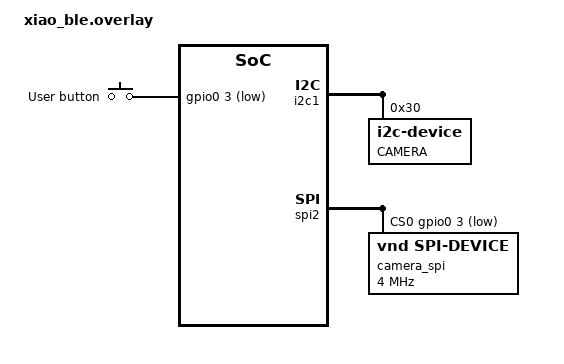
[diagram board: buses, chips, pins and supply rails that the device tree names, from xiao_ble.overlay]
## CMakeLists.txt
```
# SPDX-License-Identifier: Apache-2.0

cmake_minimum_required(VERSION 3.20.0)
find_package(Zephyr REQUIRED HINTS $ENV{ZEPHYR_BASE})
project(nrf52840_nordic)
enable_language(C ASM)

target_sources(app PRIVATE
    src/main.c
    src/transport.c
    src/mic.c
    src/led.c
    src/audio.c
    src/codec.c
    src/camera.c
    src/controls.c
    src/battery.c
    src/settings.c
)

target_sources_ifdef(CONFIG_BUBBLE_CODEC_OPUS app PRIVATE
    src/opus-1.2.1/A2NLSF.c
    src/opus-1.2.1/CNG.c
    src/opus-1.2.1/HP_variable_cutoff.c
    src/opus-1.2.1/LPC_analysis_filter.c
    src/opus-1.2.1/LPC_fit.c
    src/opus-1.2.1/LPC_inv_pred_gain.c
    src/opus-1.2.1/LP_variable_cutoff.c
    src/opus-1.2.1/LTP_analysis_filter_FIX.c
    src/opus-1.2.1/LTP_scale_ctrl_FIX.c
    src/opus-1.2.1/NLSF2A.c
    src/opus-1.2.1/NLSF_VQ.c
    src/opus-1.2.1/NLSF_VQ_weights_laroia.c
    src/opus-1.2.1/NLSF_decode.c
    src/opus-1.2.1/NLSF_del_dec_quant.c
    src/opus-1.2.1/NLSF_encode.c
    src/opus-1.2.1/NLSF_stabilize.c
    src/opus-1.2.1/NLSF_unpack.c
    src/opus-1.2.1/NSQ.c
    src/opus-1.2.1/NSQ_del_dec.c
    src/opus-1.2.1/PLC.c
    src/opus-1.2.1/VAD.c
    src/opus-1.2.1/VQ_WMat_EC.c
    src/opus-1.2.1/ana_filt_bank_1.c
    src/opus-1.2.1/analysis.c
    src/opus-1.2.1/apply_sine_window_FIX.c
    src/opus-1.2.1/autocorr_FIX.c
    src/opus-1.2.1/bands.c
    src/opus-1.2.1/biquad_alt.c
    src/opus-1.2.1/burg_modified_FIX.c
    src/opus-1.2.1/bwexpander.c
    src/opus-1.2.1/bwexpander_32.c
    src/opus-1.2.1/celt.c
    src/opus-1.2.1/celt_decoder.c
    src/opus-1.2.1/celt_encoder.c
    src/opus-1.2.1/celt_lpc.c
    src/opus-1.2.1/arm/celt_pitch_xcorr_arm_gcc.s
    src/opus-1.2.1/check_control_input.c
    src/opus-1.2.1/code_signs.c
    src/opus-1.2.1/control_SNR.c
    src/opus-1.2.1/control_audio_bandwidth.c
    src/opus-1.2.1/control_codec.c
    src/opus-1.2.1/corrMatrix_FIX.c
    src/opus-1.2.1/cwrs.c
    src/opus-1.2.1/debug.c
    src/opus-1.2.1/dec_API.c
    src/opus-1.2.1/decode_core.c
    src/opus-1.2.1/decode_frame.c
    src/opus-1.2.1/decode_indices.c
    src/opus-1.2.1/decode_parameters.c
    src/opus-1.2.1/decode_pitch.c
    src/opus-1.2.1/decode_pulses.c
    src/opus-1.2.1/decoder_set_fs.c
    src/opus-1.2.1/enc_API.c
    src/opus-1.2.1/encode_frame_FIX.c
    src/opus-1.2.1/encode_indices.c
    src/opus-1.2.1/encode_pulses.c
    src/opus-1.2.1/entcode.c
    src/opus-1.2.1/entdec.c
    src/opus-1.2.1/entenc.c
    src/opus-1.2.1/find_LPC_FIX.c
    src/opus-1.2.1/find_LTP_FIX.c
    src/opus-1.2.1/find_pitch_lags_FIX.c
    src/opus-1.2.1/find_pred_coefs_FIX.c
    src/opus-1.2.1/gain_quant.c
    src/opus-1.2.1/init_decoder.c
    src/opus-1.2.1/init_encoder.c
    src/opus-1.2.1/inner_prod_aligned.c
    src/opus-1.2.1/interpolate.c
    src/opus-1.2.1/k2a_FIX.c
    src/opus-1.2.1/k2a_Q16_FIX.c
    src/opus-1.2.1/kiss_fft.c
    src/opus-1.2.1/laplace.c
    src/opus-1.2.1/lin2log.c
    src/opus-1.2.1/log2lin.c
    src/opus-1.2.1/mathops.c
    src/opus-1.2.1/mdct.c
    src/opus-1.2.1/mlp.c
    src/opus-1.2.1/mlp_data.c
    src/opus-1.2.1/modes.c
    src/opus-1.2.1/noise_shape_analysis_FIX.c
    src/opus-1.2.1/opus.c
    src/opus-1.2.1/opus_decoder.c
    src/opus-1.2.1/opus_encoder.c
    src/opus-1.2.1/opus_multistream.c
    src/opus-1.2.1/opus_multistream_decoder.c
    src/opus-1.2.1/opus_multistream_encoder.c
    src/opus-1.2.1/pitch.c
    src/opus-1.2.1/pitch_analysis_core_FIX.c
    src/opus-1.2.1/pitch_est_tables.c
    src/opus-1.2.1/process_NLSFs.c
    src/opus-1.2.1/process_gains_FIX.c
    src/opus-1.2.1/quant_LTP_gains.c
    src/opus-1.2.1/quant_bands.c
    src/opus-1.2.1/rate.c
    src/opus-1.2.1/regularize_correlations_FIX.c
    src/opus-1.2.1/repacketizer.c
    src/opus-1.2.1/resampler.c
    src/opus-1.2.1/resampler_down2.c
    src/opus-1.2.1/resampler_down2_3.c
    src/opus-1.2.1/resampler_private_AR2.c
    src/opus-1.2.1/resampler_private_IIR_FIR.c
    src/opus-1.2.1/resampler_private_down_FIR.c
    src/opus-1.2.1/resampler_private_up2_HQ.c
    src/opus-1.2.1/resampler_rom.c
    src/opus-1.2.1/residual_energy16_FIX.c
    src/opus-1.2.1/residual_energy_FIX.c
    src/opus-1.2.1/schur64_FIX.c
    src/opus-1.2.1/schur_FIX.c
    src/opus-1.2.1/shell_coder.c
    src/opus-1.2.1/sigm_Q15.c
    src/opus-1.2.1/sort.c
    src/opus-1.2.1/stereo_LR_to_MS.c
    src/opus-1.2.1/stereo_MS_to_LR.c
    src/opus-1.2.1/stereo_decode_pred.c
    src/opus-1.2.1/stereo_encode_pred.c
    src/opus-1.2.1/stereo_find_predictor.c
    src/opus-1.2.1/stereo_quant_pred.c
    src/opus-1.2.1/sum_sqr_shift.c
    src/opus-1.2.1/table_LSF_cos.c
    src/opus-1.2.1/tables_LTP.c
    src/opus-1.2.1/tables_NLSF_CB_NB_MB.c
    src/opus-1.2.1/tables_NLSF_CB_WB.c
    src/opus-1.2.1/tables_gain.c
    src/opus-1.2.1/tables_other.c
    src/opus-1.2.1/tables_pitch_lag.c
    src/opus-1.2.1/tables_pulses_per_block.c
    src/opus-1.2.1/vector_ops_FIX.c
    src/opus-1.2.1/vq.c
    src/opus-1.2.1/warped_autocorrelation_FIX.c
    src/opus-1.2.1/arm/celt_pitch_xcorr_arm_gcc.s
)

set(CMAKE_C_FLAGS "${CMAKE_C_FLAGS} -DARM_MATH_CM4")
# set(CMAKE_C_FLAGS "${CMAKE_C_FLAGS} -DVAR_ARRAYS")
set(CMAKE_C_FLAGS "${CMAKE_C_FLAGS} -DOPUS_ARM_ASM")
set(CMAKE_C_FLAGS "${CMAKE_C_FLAGS} -DOPUS_ARM_INLINE_ASM")
set(CMAKE_C_FLAGS "${CMAKE_C_FLAGS} -DOPUS_ARM_INLINE_EDSP")
set(CMAKE_C_FLAGS "${CMAKE_C_FLAGS} -DOPUS_ARM_INLINE_MEDIA")
set(CMAKE_C_FLAGS "${CMAKE_C_FLAGS} -DOPUS_ARM_MAY_HAVE_EDSP")
set(CMAKE_C_FLAGS "${CMAKE_C_FLAGS} -DOPUS_ARM_PRESUME_EDSP")
set(CMAKE_C_FLAGS "${CMAKE_C_FLAGS} -DOPUS_BUILD")
set(CMAKE_C_FLAGS "${CMAKE_C_FLAGS} -DUSE_ALLOCA")
set(CMAKE_C_FLAGS "${CMAKE_C_FLAGS} -DFIXED_POINT -DDISABLE_FLOAT_API")
set(CMAKE_C_FLAGS "${CMAKE_C_FLAGS} -DHAVE_CONFIG_H")
set(CMAKE_C_FLAGS "${CMAKE_C_FLAGS} -DHAVE_ALLOCA_H")
set(CMAKE_C_FLAGS "${CMAKE_C_FLAGS} -fsingle-precision-constant") # A lot of constants are written as doubles
set(CMAKE_C_FLAGS "${CMAKE_C_FLAGS} -DHAVE_LRINT -DHAVE_LRINTF")
```

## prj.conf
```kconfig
#
# Firmware settings
#

CONFIG_BUBBLE_SOFT_BUTTON=y

#
# Hardware settings
#

# Microphone
CONFIG_NRFX_PDM=y
CONFIG_ADC=y

# Watchdog
CONFIG_WATCHDOG=y
CONFIG_WDT_NRFX=y

# Storage
CONFIG_NVS=y
CONFIG_FLASH=y
CONFIG_FLASH_MAP=y
CONFIG_SETTINGS=y
CONFIG_SETTINGS_NVS=y
CONFIG_SETTINGS_RUNTIME=y

#
# Bluetooth settings
#

CONFIG_BT=y
CONFIG_BT_PERIPHERAL=y
CONFIG_BT_DEVICE_NAME="Bubble"
# This is important since our code assumes a single connection
CONFIG_BT_MAX_CONN=1
CONFIG_BT_MAX_PAIRED=1
CONFIG_BT_DEVICE_APPEARANCE=22
CONFIG_BT_GATT_DYNAMIC_DB=y

# Pairing
# CONFIG_BT_SMP=y

# Coded PHY (long range) doesnt work with Apple
# CONFIG_BT_CTLR_PHY_CODED=y
# CONFIG_BT_CTLR_CONN_PARAM_REQ=y

# Alternative BLE implementation
# CONFIG_BT_LL_SW_SPLIT=y

# MOAR POWER
CONFIG_BT_CTLR_TX_PWR_ANTENNA=8
CONFIG_BT_PHY_UPDATE=y

# Large packets
CONFIG_BT_L2CAP_TX_MTU=498
CONFIG_BT_L2CAP_TX_BUF_COUNT=10
CONFIG_BT_CONN_TX_MAX=30
CONFIG_BT_BUF_ACL_RX_SIZE=2048
CONFIG_BT_BUF_ACL_TX_SIZE=2048
CONFIG_BT_CTLR_DATA_LENGTH_MAX=251
CONFIG_BT_USER_DATA_LEN_UPDATE=y
CONFIG_BT_AUTO_DATA_LEN_UPDATE=y
CONFIG_BT_USER_PHY_UPDATE=y
CONFIG_BT_AUTO_PHY_UPDATE=y
CONFIG_BT_RX_STACK_SIZE=4096

# Battery and DeviceInformation services
CONFIG_BT_BAS=y
CONFIG_BT_DIS=y
CONFIG_BT_DIS_PNP=n
CONFIG_BT_DIS_MODEL="Bubble"
CONFIG_BT_DIS_MANUF="Based Hardware"
CONFIG_BT_DIS_FW_REV=y
CONFIG_BT_DIS_HW_REV=y
CONFIG_BT_DIS_FW_REV_STR="1.5.3"
CONFIG_BT_DIS_HW_REV_STR="Seeed Xiao BLE Sense"

# Codecs (not implemented)
# CONFIG_LIBLC3=y

# Camera
# CONFIG_I2C=y
# CONFIG_SPI=y

# Debug
# CONFIG_DEBUG=y
CONFIG_ASSERT=y # DO NOT DISABLE - will cause hard fault
# CONFIG_LOG=y
# CONFIG_LOG_PRINTK=y
# CONFIG_LOG_BUFFER_SIZE=4096
# CONFIG_LOG_PROCESS_THREAD_STACK_SIZE=4096
# CONFIG_LOG_MODE_IMMEDIATE=y

# Log Levels
# CONFIG_BT_DEBUG_LOG=y
# CONFIG_BT_L2CAP_LOG_LEVEL_DBG=y
# CONFIG_BT_LOG_LEVEL_DBG=y

# CONFIG_LOG_PROCESS_THREAD_STACK_SIZE=4096
# CONFIG_BT_CTLR_RX_PRIO_STACK_SIZE=4096
# CONFIG_BT_DEBUG_LOG=y
# CONFIG_LOG_BUFFER_SIZE=32000
# CONFIG_LOG_OVERRIDE_LEVEL=4
# CONFIG_LOG_PROCESS_THREAD_STACK_SIZE=4096
# CONFIG_BT_RX_STACK_SIZE=4096
# CONFIG_BT_CTLR_RX_PRIO_STACK_SIZE=4096

# RTT
# CONFIG_UART_CONSOLE=n
# CONFIG_SEGGER_RTT_BUFFER_SIZE_UP=2048
# CONFIG_RTT_CONSOLE=y
# CONFIG_LOG_BACKEND_RTT=y
```

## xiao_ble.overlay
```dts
// To get started, press Ctrl+Space (or Option+Esc) to bring up the completion menu and view the available nodes.

// You can also use the buttons in the sidebar to perform actions on nodes.
// Actions currently available include:

// * Enabling / disabling the node
// * Adding the bus to a bus
// * Removing the node
// * Connecting ADC channels

// For more help, browse the DeviceTree documentation at https: //docs.zephyrproject.org/latest/guides/dts/index.html
// You can also visit the nRF DeviceTree extension documentation at https: //nrfconnect.github.io/vscode-nrf-connect/devicetree/nrfdevicetree.html
/ {
    aliases {
        sw0 = &button0;
    };
    buttons {
        compatible = "gpio-keys";
        button0: button_0 {
            gpios = <&gpio0 3 (GPIO_PULL_UP | GPIO_ACTIVE_LOW)>;
            label = "User button";
        };
    };
};

&i2c1 {
    camera: camera@30 {
        compatible = "i2c-device";
        reg = <0x30>;
        label = "CAMERA";
    };
};

&spi2 {
    cs-gpios = <&gpio0 3 GPIO_ACTIVE_LOW>, <&gpio0 28 GPIO_ACTIVE_LOW>;

    camera_spi: camera_spi_device@0 {
        status = "okay";
        compatible = "vnd,spi-device"; // https: //devzone.nordicsemi.com/f/nordic-q-a/108613/yet-another-zephyr-devicetree-problem-this-time-with-spi-spi-max-frequency-amongst-others
        reg = <0>;
        spi-max-frequency = <4000000>;
    };
};
```

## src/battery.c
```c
#include <zephyr/kernel.h>
#include <zephyr/drivers/gpio.h>
#include <zephyr/drivers/adc.h>
#include <zephyr/bluetooth/services/bas.h>
#include "battery.h"
#include "utils.h"
#include "transport.h"

#define GPIO_BATTERY_CHARGING_STATUS 17
#define GPIO_BATTERY_CHARGE_SPEED 13
#define GPIO_BATTERY_READ_ENABLE 14

// ADC
static const struct device *adc_battery_dev = DEVICE_DT_GET(DT_NODELABEL(adc));
#define ADC_TOTAL_SAMPLES 10 // Change this to a higher number for better averages
int16_t sample_buffer[ADC_TOTAL_SAMPLES];
#define ADC_RESOLUTION 12
#define ADC_CHANNEL 7
#define ADC_PORT SAADC_CH_PSELP_PSELP_AnalogInput7 // AIN7
#define ADC_REFERENCE ADC_REF_INTERNAL             // 0.6V
#define ADC_GAIN ADC_GAIN_1_6                      // ADC REFERENCE * 6 = 3.6V
struct adc_channel_cfg channel_7_cfg = {
    .gain = ADC_GAIN,
    .reference = ADC_REFERENCE,
    .acquisition_time = ADC_ACQ_TIME_DEFAULT,
    .channel_id = ADC_CHANNEL,
    .input_positive = ADC_PORT};
static struct adc_sequence_options options = {
    .extra_samplings = ADC_TOTAL_SAMPLES - 1,
    .interval_us = 500, // Interval between each sample
};
struct adc_sequence sequence = {
    .options = &options,
    .channels = BIT(ADC_CHANNEL),
    .buffer = sample_buffer,
    .buffer_size = sizeof(sample_buffer),
    .resolution = ADC_RESOLUTION,
};

// Battery spec
typedef struct
{
    uint16_t voltage;
    uint8_t percentage;
} BatteryState;
#define BATTERY_STATES_COUNT 12
BatteryState battery_states[BATTERY_STATES_COUNT] = {
    {4185, 100},
    {4165, 99},
    {4090, 91},
    {4030, 78},
    {3890, 63},
    {3830, 53},
    {3680, 36},
    {3660, 35},
    {3480, 14},
    {3420, 11},
    {3150, 1}, // 3240
    {0000, 0}  // Below safe level
};

// Implementation

bool read_battery_charging()
{
    return gpio_pin_get(gpio0_port, GPIO_BATTERY_CHARGING_STATUS) == 1;
}

int read_battery_voltage()
{

    // Voltage divider circuit (Should tune R1 in software if possible)
    const uint16_t R1 = 1037; // Originally 1M ohm, calibrated after measuring actual voltage values. Can happen due to resistor tolerances, temperature ect..
    const uint16_t R2 = 510;  // 510K ohm

    // We need to stop charging to get a reading
    bool was_charging = read_battery_charging();
    if (was_charging)
    {
        ASSERT_OK(gpio_pin_configure(gpio0_port, GPIO_BATTERY_CHARGE_SPEED, GPIO_OUTPUT | GPIO_ACTIVE_HIGH));
        ASSERT_OK(gpio_pin_set(gpio0_port, GPIO_BATTERY_CHARGE_SPEED, 1));
    }

    // Read ADC
    ASSERT_OK(adc_read(adc_battery_dev, &sequence));

    // Average samples
    int adc_mv = 0;
    for (uint8_t sample = 0; sample < ADC_TOTAL_SAMPLES; sample++)
    {
        adc_mv += sample_buffer[sample]; // ADC value, not millivolt yet.
    }
    adc_mv /= ADC_TOTAL_SAMPLES;

    // Convert to millivolts
    uint16_t adc_vref = adc_ref_internal(adc_battery_dev);
    ASSERT_OK(adc_raw_to_millivolts(adc_vref, ADC_GAIN, ADC_RESOLUTION, &adc_mv));

    int output = adc_mv * ((R1 + R2) / R2);

    // Enable 50ma charging
    if (was_charging)
    {
        ASSERT_OK(gpio_pin_configure(gpio0_port, GPIO_BATTERY_CHARGE_SPEED, GPIO_INPUT));
    }

    return output;
}

int battery_milivolt_to_percent(uint16_t battery_millivolt)
{

    // Ensure voltage is within bounds
    if (battery_millivolt > battery_states[0].voltage)
        return 100;
    if (battery_millivolt < battery_states[BATTERY_STATES_COUNT - 1].voltage)
        return 0;

    for (uint16_t i = 0; i < BATTERY_STATES_COUNT - 1; i++)
    {
        // Find the two points battery_millivolt is between
        if (battery_states[i].voltage >= battery_millivolt && battery_millivolt >= battery_states[i + 1].voltage)
        {
            // Linear interpolation
            return battery_states[i].percentage +
                   ((float)(battery_millivolt - battery_states[i].voltage) *
                    ((float)(battery_states[i + 1].percentage - battery_states[i].percentage) /
                     (float)(battery_states[i + 1].voltage - battery_states[i].voltage)));
        }
    }

    return -ESPIPE;
}

//
// Worker
//

bool battery_status_charge = false;
int battery_voltage = 0;
int battery_percentage = 0;
int voltage_counter = 0;
void refresh_worker(struct k_work *work);
K_WORK_DELAYABLE_DEFINE(refresh_work, refresh_worker);

void refresh_worker(struct k_work *work)
{
    // Update battery status
    battery_status_charge = read_battery_charging();

    // Update battery voltage every 10 seconds
    if (voltage_counter % 10 == 0)
    {
        battery_voltage = read_battery_voltage();
        battery_percentage = battery_milivolt_to_percent(battery_voltage);
        set_bt_batterylevel(battery_percentage);
        voltage_counter = 0;
    }
    voltage_counter++;

    // Submit the work item again with a delay
    k_work_reschedule(&refresh_work, K_MSEC(1000)); // Delay of 1 second
}

//
// Public
//

int battery_start()
{

    // Configure ADC
    ASSERT_TRUE(device_is_ready(adc_battery_dev));
    ASSERT_OK(adc_channel_setup(adc_battery_dev, &channel_7_cfg));

    // Configure GPIO pins
    ASSERT_OK(gpio_pin_configure(gpio0_port, GPIO_BATTERY_CHARGING_STATUS, GPIO_INPUT | GPIO_ACTIVE_LOW | GPIO_PULL_UP));
    ASSERT_OK(gpio_pin_configure(gpio0_port, GPIO_BATTERY_READ_ENABLE, GPIO_OUTPUT | GPIO_ACTIVE_LOW));

    // ALlow batterty readings
    ASSERT_OK(gpio_pin_set(gpio0_port, GPIO_BATTERY_READ_ENABLE, 1));

    // Set 50ma charge current
    ASSERT_OK(gpio_pin_configure(gpio0_port, GPIO_BATTERY_CHARGE_SPEED, GPIO_INPUT));

    // Load init state
    battery_status_charge = read_battery_charging();
    battery_voltage = read_battery_voltage();
    battery_percentage = battery_milivolt_to_percent(battery_voltage);
    set_bt_batterylevel(battery_percentage);

    // Start worker
    k_work_schedule(&refresh_work, K_MSEC(1000));

    return 0;
}

bool is_battery_charging()
{
    return battery_status_charge;
}

int get_battery_voltage()
{
    return battery_voltage;
}

int get_battery_percentage()
{
    return battery_percentage;
}
```

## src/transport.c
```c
#include <zephyr/kernel.h>
#include <zephyr/logging/log.h>
#include <zephyr/sys/ring_buffer.h>
#include <zephyr/bluetooth/bluetooth.h>
#include <zephyr/bluetooth/uuid.h>
#include <zephyr/bluetooth/gatt.h>
#include <zephyr/bluetooth/l2cap.h>
#include <zephyr/bluetooth/services/bas.h>
#include <zephyr/sys/atomic.h>
#include "transport.h"
#include "config.h"
#include "utils.h"

//
// Internal
//

static uint8_t battery_level = 100U;
static bool battery_charging = false;
static bool is_allowed = false;
static uint16_t connected = 0;
static struct transport_cb *external_callbacks = NULL;
static struct bt_conn_cb _callback_references;
static ssize_t audio_characteristic_read(struct bt_conn *conn, const struct bt_gatt_attr *attr, void *buf, uint16_t len, uint16_t offset);
static ssize_t audio_characteristic_format_read(struct bt_conn *conn, const struct bt_gatt_attr *attr, void *buf, uint16_t len, uint16_t offset);
static ssize_t audio_characteristic_allowed_read(struct bt_conn *conn, const struct bt_gatt_attr *attr, void *buf, uint16_t len, uint16_t offset);
static ssize_t battery_characteristic_read(struct bt_conn *conn, const struct bt_gatt_attr *attr, void *buf, uint16_t len, uint16_t offset);
static void ccc_config_changed_handler(const struct bt_gatt_attr *attr, uint16_t value);
static void battery_ccc_config_changed_handler(const struct bt_gatt_attr *attr, uint16_t value);
static void mute_ccc_config_changed_handler(const struct bt_gatt_attr *attr, uint16_t value);

static uint8_t dfu_version_value[] = {0x01, 0x00};
static ssize_t dfu_control_point_write_handler(struct bt_conn *conn, const struct bt_gatt_attr *attr, const void *buf, uint16_t len, uint16_t offset, uint8_t flags);
static ssize_t dfu_version_read(struct bt_conn *conn, const struct bt_gatt_attr *attr, void *buf, uint16_t len, uint16_t offset);
static void dfu_ccc_config_changed_handler(const struct bt_gatt_attr *attr, uint16_t value);

//
// Audio Service
//

static struct bt_uuid_128 audio_service_uuid = BT_UUID_INIT_128(BT_UUID_128_ENCODE(0x19B10000, 0xE8F2, 0x537E, 0x4F6C, 0xD104768A1214));
static struct bt_uuid_128 audio_characteristic_uuid = BT_UUID_INIT_128(BT_UUID_128_ENCODE(0x19B10001, 0xE8F2, 0x537E, 0x4F6C, 0xD104768A1214));
static struct bt_uuid_128 audio_characteristic_format_uuid = BT_UUID_INIT_128(BT_UUID_128_ENCODE(0x19B10002, 0xE8F2, 0x537E, 0x4F6C, 0xD104768A1214));
static struct bt_uuid_128 audio_characteristic_allow_uuid = BT_UUID_INIT_128(BT_UUID_128_ENCODE(0x19B10003, 0xE8F2, 0x537E, 0x4F6C, 0xD104768A1214));
static struct bt_uuid_128 audio_characteristic_battery = BT_UUID_INIT_128(BT_UUID_128_ENCODE(0x19B10004, 0xE8F2, 0x537E, 0x4F6C, 0xD104768A1214));
static struct bt_gatt_attr audio_attrs[] = {
    BT_GATT_PRIMARY_SERVICE(&audio_service_uuid),
    // Streaming
    BT_GATT_CHARACTERISTIC(&audio_characteristic_uuid.uuid, BT_GATT_CHRC_READ | BT_GATT_CHRC_NOTIFY, BT_GATT_PERM_READ, audio_characteristic_read, NULL, NULL),
    BT_GATT_CCC(ccc_config_changed_handler, BT_GATT_PERM_READ | BT_GATT_PERM_WRITE),
    // Format
    BT_GATT_CHARACTERISTIC(&audio_characteristic_format_uuid.uuid, BT_GATT_CHRC_READ, BT_GATT_PERM_READ, audio_characteristic_format_read, NULL, NULL),
    // Mute
    BT_GATT_CHARACTERISTIC(&audio_characteristic_allow_uuid.uuid, BT_GATT_CHRC_READ | BT_GATT_CHRC_NOTIFY, BT_GATT_PERM_READ, audio_characteristic_allowed_read, NULL, NULL),
    BT_GATT_CCC(mute_ccc_config_changed_handler, BT_GATT_PERM_READ | BT_GATT_PERM_WRITE)};
static struct bt_gatt_service audio_service = BT_GATT_SERVICE(audio_attrs);

//
// Battery Service
//

static const struct bt_gatt_cpf level_cpf = {
    .format = 0x04, /* uint8 */
    .exponent = 0x0,
    .unit = 0x27AD,        /* Percentage */
    .name_space = 0x01,    /* Bluetooth SIG */
    .description = 0x0106, /* "main" */
};

static struct bt_gatt_attr bas_attrs[] = {
    BT_GATT_PRIMARY_SERVICE(BT_UUID_BAS),
    BT_GATT_CHARACTERISTIC(BT_UUID_BAS_BATTERY_LEVEL,
                           BT_GATT_CHRC_READ | BT_GATT_CHRC_NOTIFY,
                           BT_GATT_PERM_READ, battery_characteristic_read, NULL,
                           &battery_level),
    BT_GATT_CCC(battery_ccc_config_changed_handler,
                BT_GATT_PERM_READ | BT_GATT_PERM_WRITE),
    BT_GATT_CPF(&level_cpf),
};
static struct bt_gatt_service bas_service = BT_GATT_SERVICE(bas_attrs);

//
// DFU Service
//

// Nordic Legacy DFU service with UUID 00001530-1212-EFDE-1523-785FEABCD123
// exposes following characteristics:
// - Control point (UUID 00001531-1212-EFDE-1523-785FEABCD123) to start the OTA update process (write/notify)
// - DFU version (UUID 00001534-1212-EFDE-1523-785FEABCD123) to return to the client the bootloader version (read)
static struct bt_uuid_128 dfu_service_uuid = BT_UUID_INIT_128(BT_UUID_128_ENCODE(0x00001530, 0x1212, 0xEFDE, 0x1523, 0x785FEABCD123));
static struct bt_uuid_128 dfu_control_point_uuid = BT_UUID_INIT_128(BT_UUID_128_ENCODE(0x00001531, 0x1212, 0xEFDE, 0x1523, 0x785FEABCD123));
static struct bt_uuid_128 dfu_version_uuid = BT_UUID_INIT_128(BT_UUID_128_ENCODE(0x00001534, 0x1212, 0xEFDE, 0x1523, 0x785FEABCD123));

// DFU Service
static struct bt_gatt_attr dfu_attrs[] = {
    BT_GATT_PRIMARY_SERVICE(&dfu_service_uuid),
    BT_GATT_CHARACTERISTIC(&dfu_control_point_uuid.uuid, BT_GATT_CHRC_WRITE | BT_GATT_CHRC_NOTIFY, BT_GATT_PERM_WRITE, NULL, dfu_control_point_write_handler, NULL),
    BT_GATT_CCC(dfu_ccc_config_changed_handler, BT_GATT_PERM_READ | BT_GATT_PERM_WRITE),
    BT_GATT_CHARACTERISTIC(&dfu_version_uuid.uuid, BT_GATT_CHRC_READ, BT_GATT_PERM_READ, dfu_version_read, NULL, dfu_version_value),
};
static struct bt_gatt_service dfu_service = BT_GATT_SERVICE(dfu_attrs);

//
// Advertisement data
//

static const struct bt_data bt_ad[] = {
    BT_DATA_BYTES(BT_DATA_FLAGS, (BT_LE_AD_GENERAL | BT_LE_AD_NO_BREDR)),
    BT_DATA(BT_DATA_NAME_COMPLETE, CONFIG_BT_DEVICE_NAME, sizeof(CONFIG_BT_DEVICE_NAME) - 1),
};

//
// Scan response data
//

static const struct bt_data bt_sd[] = {
    BT_DATA(BT_DATA_UUID128_ALL, audio_service_uuid.val, sizeof(audio_service_uuid.val)),
    BT_DATA(BT_DATA_UUID128_ALL, dfu_service_uuid.val, sizeof(dfu_service_uuid.val)),
};

//
// State and Characteristics
//

struct bt_conn *current_connection = NULL;
uint16_t current_mtu = 0;
uint16_t current_package_index = 0;

static ssize_t audio_characteristic_read(struct bt_conn *conn, const struct bt_gatt_attr *attr, void *buf, uint16_t len, uint16_t offset)
{
    printk("audio_characteristic_read\n");
    return bt_gatt_attr_read(conn, attr, buf, len, offset, NULL, 0);
}

static ssize_t audio_characteristic_format_read(struct bt_conn *conn, const struct bt_gatt_attr *attr, void *buf, uint16_t len, uint16_t offset)
{
    printk("audio_characteristic_format_read\n");
    uint8_t value[1] = {CODEC_ID};
    return bt_gatt_attr_read(conn, attr, buf, len, offset, value, sizeof(value));
}

static ssize_t audio_characteristic_allowed_read(struct bt_conn *conn, const struct bt_gatt_attr *attr, void *buf, uint16_t len, uint16_t offset)
{
    printk("audio_characteristic_allowed_read\n");
    uint8_t value[1] = {(is_allowed ? 1 : 0)};
    return bt_gatt_attr_read(conn, attr, buf, len, offset, value, sizeof(value));
}

static ssize_t battery_characteristic_read(struct bt_conn *conn, const struct bt_gatt_attr *attr, void *buf, uint16_t len, uint16_t offset)
{
    printk("battery_characteristic_read\n");
    uint8_t value[1] = {battery_level};
    return bt_gatt_attr_read(conn, attr, buf, len, offset, &value, sizeof(value));
}

static void ccc_config_changed_handler(const struct bt_gatt_attr *attr, uint16_t value)
{
    if (value == BT_GATT_CCC_NOTIFY)
    {
        printk("Client subscribed for audio stream\n");
        connected += 1;
        if (connected == 1 && external_callbacks && external_callbacks->subscribed)
        {
            external_callbacks->subscribed();
        }
    }
    else if (value == 0)
    {
        printk("Client unsubscribed from audio stream\n");
        connected -= 1;
        if (connected == 0 && external_callbacks && external_callbacks->unsubscribed)
        {
            external_callbacks->unsubscribed();
        }
    }
    else
    {
        printk("Invalid CCC value: %u\n", value);
    }
}

static void battery_ccc_config_changed_handler(const struct bt_gatt_attr *attr, uint16_t value)
{
    if (value == BT_GATT_CCC_NOTIFY)
    {
        printk("Client subscribed for battery updates\n");
    }
    else if (value == 0)
    {
        printk("Client unsubscribed from battery updates\n");
    }
    else
    {
        printk("Invalid CCC value: %u\n", value);
    }
}

static void mute_ccc_config_changed_handler(const struct bt_gatt_attr *attr, uint16_t value)
{
    if (value == BT_GATT_CCC_NOTIFY)
    {
        printk("Client subscribed for mute updates\n");
    }
    else if (value == 0)
    {
        printk("Client unsubscribed from mute updates\n");
    }
    else
    {
        printk("Invalid CCC value: %u\n", value);
    }
}

//
// DFU Service handlers
//

static ssize_t dfu_control_point_write_handler(struct bt_conn *conn, const struct bt_gatt_attr *attr, const void *buf, uint16_t len, uint16_t offset, uint8_t flags)
{
    printk("dfu_control_point_write_handler\n");
    if (len == 1 && ((uint8_t *)buf)[0] == 0x06)
    {
        NRF_POWER->GPREGRET = 0xA8;
        NVIC_SystemReset();
    }
    else if (len == 2 && ((uint8_t *)buf)[0] == 0x01)
    {
        uint8_t notification_value = 0x10;
        bt_gatt_notify(conn, attr, &notification_value, sizeof(notification_value));

        NRF_POWER->GPREGRET = 0xA8;
        NVIC_SystemReset();
    }
    return len;
}

static ssize_t dfu_version_read(struct bt_conn *conn, const struct bt_gatt_attr *attr, void *buf, uint16_t len, uint16_t offset)
{
    const uint8_t *value = attr->user_data;
    return bt_gatt_attr_read(conn, attr, buf, len, offset, value, sizeof(dfu_version_value));
}

static void dfu_ccc_config_changed_handler(const struct bt_gatt_attr *attr, uint16_t value)
{
    if (value == BT_GATT_CCC_NOTIFY)
    {
        printk("Client subscribed for DFU control point notifications\n");
    }
    else if (value == 0)
    {
        printk("Client unsubscribed from DFU control point notifications\n");
    }
    else
    {
        printk("Invalid CCC value: %u\n", value);
    }
}

//
// Connection Callbacks
//

static const char *phy2str(uint8_t phy)
{
    switch (phy)
    {
    case 0:
        return "No packets";
    case BT_GAP_LE_PHY_1M:
        return "LE 1M";
    case BT_GAP_LE_PHY_2M:
        return "LE 2M";
    case BT_GAP_LE_PHY_CODED:
        return "LE Coded";
    default:
        return "Unknown";
    }
}

static void _transport_connected(struct bt_conn *conn, uint8_t err)
{
    struct bt_conn_info info = {0};
    err = bt_conn_get_info(conn, &info);
    if (err)
    {
        printk("Failed to get connection info (err %d)\n", err);
        return;
    }

    // Configure preferences
    struct bt_conn_le_phy_param phy_param;
    phy_param.options = BT_CONN_LE_PHY_OPT_NONE;
    phy_param.pref_tx_phy = BT_GAP_LE_PHY_2M;
    phy_param.pref_rx_phy = BT_GAP_LE_PHY_1M;
    err = bt_conn_le_phy_update(conn, &phy_param);
    if (err)
    {
        printk("PHY update request failed (err %d)\n", err);
        return;
    }

    // Disconnect existing connection
    if (current_connection)
    {
        if (bt_conn_disconnect(current_connection, BT_HCI_ERR_REMOTE_USER_TERM_CONN)) {
            printk("Failed to disconnect existing connection\n");
        }
        bt_conn_unref(current_connection);
        current_connection = NULL;
        current_mtu = 0;
    }

    // Save connection
    current_connection = bt_conn_ref(conn);
    current_mtu = info.le.data_len->tx_max_len;
    printk("Connected\n");
    printk("Interval: %d, latency: %d, timeout: %d\n", info.le.interval, info.le.latency, info.le.timeout);
    printk("TX PHY %s, RX PHY %s\n", phy2str(info.le.phy->tx_phy), phy2str(info.le.phy->rx_phy));
    printk("LE data len updated: TX (len: %d time: %d) RX (len: %d time: %d)\n", info.le.data_len->tx_max_len, info.le.data_len->tx_max_time, info.le.data_len->rx_max_len, info.le.data_len->rx_max_time);
}

static void _transport_disconnected(struct bt_conn *conn, uint8_t err)
{
    printk("Disconnected\n");
    bt_conn_unref(conn);
    current_connection = NULL;
    current_mtu = 0;
}

static bool _le_param_req(struct bt_conn *conn, struct bt_le_conn_param *param)
{
    printk("Connection parameters update request received.\n");
    printk("Minimum interval: %d, Maximum interval: %d\n",
           param->interval_min, param->interval_max);
    printk("Latency: %d, Timeout: %d\n", param->latency, param->timeout);

    return false;
}

static void _le_param_updated(struct bt_conn *conn, uint16_t interval,
                              uint16_t latency, uint16_t timeout)
{
    printk("Connection parameters updated.\n"
           " interval: %d, latency: %d, timeout: %d\n",
           interval, latency, timeout);
}

static void _le_phy_updated(struct bt_conn *conn,
                            struct bt_conn_le_phy_info *param)
{
    printk("LE PHY updated: TX PHY %s, RX PHY %s\n",
           phy2str(param->tx_phy), phy2str(param->rx_phy));
}

static void _le_data_length_updated(struct bt_conn *conn,
                                    struct bt_conn_le_data_len_info *info)
{
    printk("LE data len updated: TX (len: %d time: %d)"
           " RX (len: %d time: %d)\n",
           info->tx_max_len,
           info->tx_max_time, info->rx_max_len, info->rx_max_time);
    current_mtu = info->tx_max_len;
}

static struct bt_conn_cb _callback_references = {
    .connected = _transport_connected,
    .disconnected = _transport_disconnected,
    .le_param_req = _le_param_req,
    .le_param_updated = _le_param_updated,
    .le_phy_updated = _le_phy_updated,
    .le_data_len_updated = _le_data_length_updated,
};

//
// Ring Buffer
//

#define NET_BUFFER_HEADER_SIZE 3
#define RING_BUFFER_HEADER_SIZE 2
static uint8_t tx_queue[NETWORK_RING_BUF_SIZE * (CODEC_OUTPUT_MAX_BYTES + RING_BUFFER_HEADER_SIZE)];
static uint8_t tx_buffer[CODEC_OUTPUT_MAX_BYTES + RING_BUFFER_HEADER_SIZE];
static uint8_t tx_buffer_2[CODEC_OUTPUT_MAX_BYTES + RING_BUFFER_HEADER_SIZE];
static uint32_t tx_buffer_size = 0;
static struct ring_buf ring_buf;

static bool write_to_tx_queue(uint8_t *data, size_t size)
{
    if (size > CODEC_OUTPUT_MAX_BYTES)
    {
        return false;
    }

    // Copy data (TODO: Avoid this copy)
    tx_buffer_2[0] = size & 0xFF;
    tx_buffer_2[1] = (size >> 8) & 0xFF;
    memcpy(tx_buffer_2 + RING_BUFFER_HEADER_SIZE, data, size);

    // Write to ring buffer
    int written = ring_buf_put(&ring_buf, tx_buffer_2, (CODEC_OUTPUT_MAX_BYTES + RING_BUFFER_HEADER_SIZE)); // It always fits completely or not at all
    if (written != CODEC_OUTPUT_MAX_BYTES + RING_BUFFER_HEADER_SIZE)
    {
        return false;
    }
    else
    {
        return true;
    }
}

static bool read_from_tx_queue()
{

    // Read from ring buffer
    // memset(tx_buffer, 0, sizeof(tx_buffer));
    tx_buffer_size = ring_buf_get(&ring_buf, tx_buffer, (CODEC_OUTPUT_MAX_BYTES + RING_BUFFER_HEADER_SIZE)); // It always fits completely or not at all
    if (tx_buffer_size != (CODEC_OUTPUT_MAX_BYTES + RING_BUFFER_HEADER_SIZE))
    {
        // printk("Failed to read from ring buffer %d\n", tx_buffer_size);
        return false;
    }

    // Adjust size
    tx_buffer_size = tx_buffer[0] + (tx_buffer[1] << 8);

    return true;
}

//
// Pusher
//

// Thread
K_THREAD_STACK_DEFINE(pusher_stack, 1024);
static struct k_thread pusher_thread;
static uint16_t packet_next_index = 0;
static uint8_t pusher_temp_data[CODEC_OUTPUT_MAX_BYTES + NET_BUFFER_HEADER_SIZE];

static bool push_to_gatt(struct bt_conn *conn)
{
    // Read data from ring buffer
    if (!read_from_tx_queue())
    {
        return false;
    }

    // Push each frame
    uint8_t *buffer = tx_buffer + RING_BUFFER_HEADER_SIZE;
    uint32_t offset = 0;
    uint8_t index = 0;
    while (offset < tx_buffer_size)
    {
        // Recombine packet
        uint32_t id = packet_next_index++;
        uint32_t packet_size = MIN(current_mtu - NET_BUFFER_HEADER_SIZE, tx_buffer_size - offset);
        pusher_temp_data[0] = id & 0xFF;
        pusher_temp_data[1] = (id >> 8) & 0xFF;
        pusher_temp_data[2] = index;
        memcpy(pusher_temp_data + NET_BUFFER_HEADER_SIZE, buffer + offset, packet_size);
        offset += packet_size;
        index++;

        while (true)
        {

            // Try send notification
            int err = bt_gatt_notify(conn, &audio_service.attrs[1], pusher_temp_data, packet_size + NET_BUFFER_HEADER_SIZE);

            // Log failure
            if (err)
            {
                printk("bt_gatt_notify failed (err %d)\n", err);
                printk("MTU: %d, packet_size: %d\n", current_mtu, packet_size + NET_BUFFER_HEADER_SIZE);
                k_sleep(K_MSEC(1));
            }

            // Try to send more data if possible
            if (err == -EAGAIN || err == -ENOMEM)
            {
                continue;
            }

            // Break if success
            break;
        }
    }

    return true;
}

void pusher(void)
{
    while (1)
    {

        //
        // Load current connection
        //

        struct bt_conn *conn = current_connection;
        bool use_gatt = true;
        if (conn)
        {
            conn = bt_conn_ref(conn);
        }
        bool valid = true;
        if (current_mtu < MINIMAL_PACKET_SIZE)
        {
            valid = false;
        }
        else if (!conn)
        {
            valid = false;
        }
        else
        {
            valid = bt_gatt_is_subscribed(conn, &audio_service.attrs[1], BT_GATT_CCC_NOTIFY); // Check if subscribed
        }

        // If no valid mode exists - discard whole buffer
        if (!valid)
        {
            ring_buf_reset(&ring_buf);
            k_sleep(K_MSEC(10));
        }

        // Handle GATT
        if (use_gatt && valid)
        {
            bool sent = push_to_gatt(conn);
            if (!sent)
            {
                k_sleep(K_MSEC(50));
            }
        }

        if (conn)
        {
            bt_conn_unref(conn);
        }
    }
}

//
// Public functions
//

int transport_start()
{

    // Configure callbacks
    bt_conn_cb_register(&_callback_references);

    // Enable Bluetooth
    int err = bt_enable(NULL);
    if (err)
    {
        printk("Bluetooth init failed (err %d)\n", err);
        return err;
    }
    printk("Bluetooth initialized\n");

    // Start advertising
    bt_gatt_service_register(&audio_service);
    bt_gatt_service_register(&bas_service);
    bt_gatt_service_register(&dfu_service);
    err = bt_le_adv_start(BT_LE_ADV_CONN, bt_ad, ARRAY_SIZE(bt_ad), bt_sd, ARRAY_SIZE(bt_sd));
    if (err)
    {
        printk("Advertising failed to start (err %d)\n", err);
        return err;
    }
    else
    {
        printk("Advertising successfully started\n");
    }

    // Start pusher
    ring_buf_init(&ring_buf, sizeof(tx_queue), tx_queue);
    k_thread_create(&pusher_thread, pusher_stack, K_THREAD_STACK_SIZEOF(pusher_stack), (k_thread_entry_t)pusher, NULL, NULL, NULL, K_PRIO_PREEMPT(7), 0, K_NO_WAIT);

    return 0;
}

struct bt_conn *get_current_connection()
{
    return current_connection;
}

int broadcast_audio_packets(uint8_t *buffer, size_t size)
{
    while (!write_to_tx_queue(buffer, size))
    {
        k_sleep(K_MSEC(1));
    }
    return 0;
}

void set_transport_callbacks(struct transport_cb *_callbacks)
{
    external_callbacks = _callbacks;
}

void set_allowed(bool allowed)
{
    if (is_allowed != allowed)
    {
        is_allowed = allowed;
        uint8_t value[1] = {(is_allowed ? 1 : 0)};
        bt_gatt_notify(NULL, &audio_service.attrs[6], &value, 1);
    }
}

void set_bt_batterylevel(uint8_t level)
{
    if (battery_level != level)
    {
        battery_level = level;
        bt_gatt_notify(NULL, &bas_service.attrs[1], &level, sizeof(level));
    }
}
```
